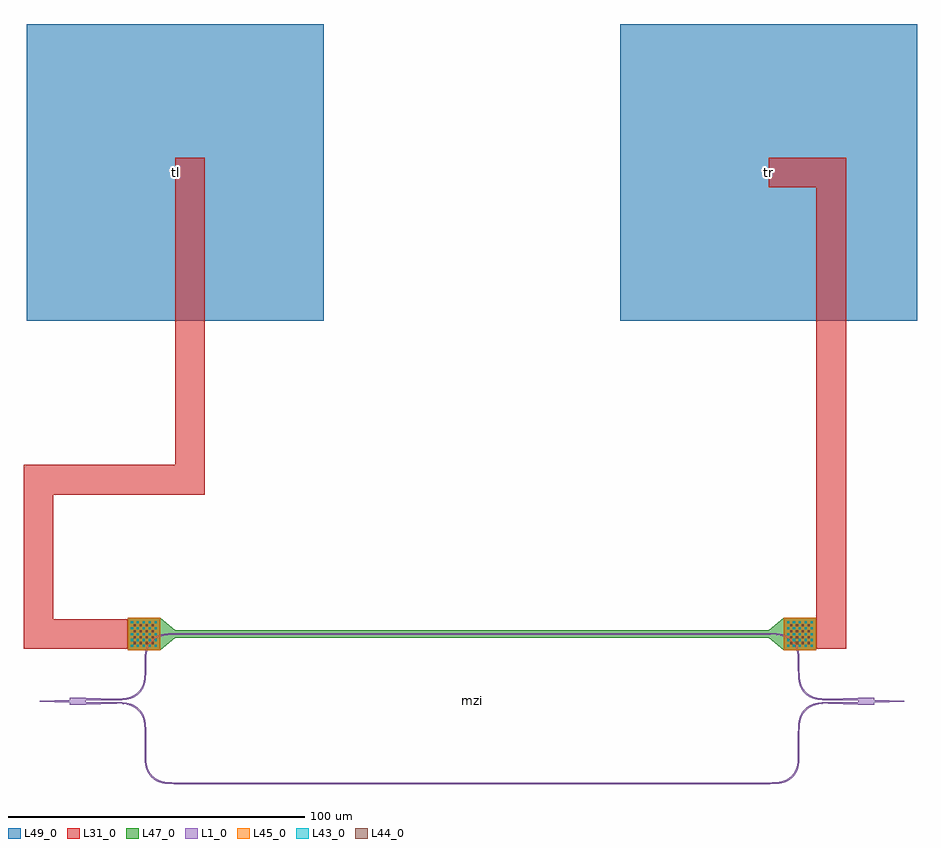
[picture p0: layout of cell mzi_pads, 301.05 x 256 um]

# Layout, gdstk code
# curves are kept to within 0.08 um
from math import pi, radians
import gdstk
lib = gdstk.Library(unit=1e-6, precision=1e-09)
def R(c, l, rs):  # rectangles x0, y0, x1, y1
    for r in rs: c.add(gdstk.rectangle(r[:2], r[2:], *l))
def P(c, l, *ps):  # polygons
    for p in ps: c.add(gdstk.Polygon(p, *l))
L1_0 = (1, 0)
L31_0 = (31, 0)
L43_0 = (43, 0)
L44_0 = (44, 0)
L45_0 = (45, 0)
L47_0 = (47, 0)
L49_0 = (49, 0)

compass_f8d1f57e = lib.new_cell('compass_f8d1f57e')
R(compass_f8d1f57e, L49_0, [(-50,-50,50,50)])

pad = lib.new_cell('pad')
pad.add(gdstk.Reference(compass_f8d1f57e, (0,0)))

mmi1x2 = lib.new_cell('mmi1x2')
R(mmi1x2, L1_0, [(0,-1.25,5.5,1.25)])
P(mmi1x2, L1_0, [(-10,0.25),(0,0.5),(0,-0.5),(-10,-0.25)],
  [(15.5,0.375),(5.5,0.125),(5.5,1.125),(15.5,0.875)],
  [(15.5,-0.875),(5.5,-1.125),(5.5,-0.125),(15.5,-0.375)])

bend_euler_9e0718a0 = lib.new_cell('bend_euler_9e0718a0')
P(bend_euler_9e0718a0, L1_0, [(0,-0.25),(2.724,-0.165),(3.761,-0.026),(4.739,0.201),(5.691,0.544),(6.428,0.918),(7.158,1.402),(7.859,2.003),(8.479,2.689),(9.033,3.488),(9.456,4.309),(9.799,5.261),(10.026,6.239),(10.165,7.276),(10.25,10),(9.75,10),(9.634,7.004),(9.463,5.971),(9.18,4.971),(8.508,3.59),(7.575,2.425),(6.41,1.492),(5.029,0.82),(4.029,0.537),(2.996,0.366),(0,0.25)])

straight_a4be237b = lib.new_cell('straight_a4be237b')
R(straight_a4be237b, L1_0, [(0,-0.25,7,0.25)])

straight_bac520ba = lib.new_cell('straight_bac520ba')
R(straight_bac520ba, L1_0, [(0,-0.25,200,0.25)])

straight_fba69bc3 = lib.new_cell('straight_fba69bc3')
R(straight_fba69bc3, L1_0, [(0,-0.25,2,0.25)])

straight_3a72786a = lib.new_cell('straight_3a72786a')
R(straight_3a72786a, L1_0, [(0,-0.25,28,0.25)])
R(straight_3a72786a, L47_0, [(0,-1.25,28,1.25)])

straight_9496f45c = lib.new_cell('straight_9496f45c')
R(straight_9496f45c, L1_0, [(0,-0.25,30,0.25)])
R(straight_9496f45c, L47_0, [(0,-1.25,30,1.25)])

straight_3fe7bc16 = lib.new_cell('straight_3fe7bc16')
R(straight_3fe7bc16, L1_0, [(0,-0.25,6,0.25)])
R(straight_3fe7bc16, L47_0, [(0,-1.25,6,1.25)])

component_sequence_76e47 = lib.new_cell('component_sequence_76e4753e')
component_sequence_76e47.add(gdstk.Reference(straight_3a72786a, (0,0)))
component_sequence_76e47.add(gdstk.Reference(straight_9496f45c, (28,0)))
component_sequence_76e47.add(gdstk.Reference(straight_3fe7bc16, (58,0)))
component_sequence_76e47.add(gdstk.Reference(straight_9496f45c, (64,0)))
component_sequence_76e47.add(gdstk.Reference(straight_3fe7bc16, (94,0)))
component_sequence_76e47.add(gdstk.Reference(straight_9496f45c, (100,0)))
component_sequence_76e47.add(gdstk.Reference(straight_3fe7bc16, (130,0)))
component_sequence_76e47.add(gdstk.Reference(straight_9496f45c, (136,0)))
component_sequence_76e47.add(gdstk.Reference(straight_3fe7bc16, (166,0)))
component_sequence_76e47.add(gdstk.Reference(straight_3a72786a, (172,0)))

compass_8277d85c = lib.new_cell('compass_8277d85c')
R(compass_8277d85c, L47_0, [(-5.5,-5.5,5.5,5.5)])

compass_6419de30 = lib.new_cell('compass_6419de30')
R(compass_6419de30, L45_0, [(-5.5,-5.5,5.5,5.5)])

compass_0253aeff = lib.new_cell('compass_0253aeff')
R(compass_0253aeff, L49_0, [(-5.5,-5.5,5.5,5.5)])

via_ebd8e362 = lib.new_cell('via_ebd8e362')
R(via_ebd8e362, L44_0, [(-0.35,-0.35,0.35,0.35)])

via_fd13653e = lib.new_cell('via_fd13653e')
R(via_fd13653e, L43_0, [(-0.35,-0.35,0.35,0.35)])

via_stack_02e7e014 = lib.new_cell('via_stack_02e7e014')
via_stack_02e7e014.add(gdstk.Reference(compass_8277d85c, (0,0)))
via_stack_02e7e014.add(gdstk.Reference(compass_6419de30, (0,0)))
via_stack_02e7e014.add(gdstk.Reference(compass_0253aeff, (0,0)))
r = gdstk.Reference(via_ebd8e362, (-3,-3)); r.repetition = gdstk.Repetition(4, 4, v1=(2,0), v2=(0,2)); via_stack_02e7e014.add(r)
r = gdstk.Reference(via_fd13653e, (-4,-4)); r.repetition = gdstk.Repetition(5, 5, v1=(2,0), v2=(0,2)); via_stack_02e7e014.add(r)

taper_13d39a01 = lib.new_cell('taper_13d39a01')
P(taper_13d39a01, L47_0, [(0,5.5),(5,1.25),(5,-1.25),(0,-5.5)])

straight_heater_metal_u_ = lib.new_cell('straight_heater_metal_u_7be1cc9e')
straight_heater_metal_u_.add(gdstk.Reference(component_sequence_76e47, (0,0)))
straight_heater_metal_u_.add(gdstk.Reference(via_stack_02e7e014, (-10.5,0)))
straight_heater_metal_u_.add(gdstk.Reference(via_stack_02e7e014, (210.5,0)))
straight_heater_metal_u_.add(gdstk.Reference(taper_13d39a01, (-5,0)))
straight_heater_metal_u_.add(gdstk.Reference(taper_13d39a01, (205,0), rotation=pi))

straight_fa3a3f2f = lib.new_cell('straight_fa3a3f2f')
R(straight_fa3a3f2f, L1_0, [(0,-0.25,0.09,0.25)])

straight_c804d8bd = lib.new_cell('straight_c804d8bd')
R(straight_c804d8bd, L1_0, [(0,-0.25,2,0.25)])

straight_4ae164bc = lib.new_cell('straight_4ae164bc')
R(straight_4ae164bc, L1_0, [(0,-0.25,0.01,0.25)])

straight_32d14105 = lib.new_cell('straight_32d14105')
R(straight_32d14105, L1_0, [(0,-0.25,7,0.25)])

mzi_99ca1007 = lib.new_cell('mzi_99ca1007')
mzi_99ca1007.add(gdstk.Reference(mmi1x2, (0,0)))
mzi_99ca1007.add(gdstk.Reference(mmi1x2, (271.1,0), rotation=pi, x_reflection=True))
mzi_99ca1007.add(gdstk.Reference(bend_euler_9e0718a0, (15.5,-0.625), x_reflection=True))
mzi_99ca1007.add(gdstk.Reference(straight_a4be237b, (25.5,-10.625), rotation=3*pi/2))
mzi_99ca1007.add(gdstk.Reference(bend_euler_9e0718a0, (25.5,-17.625), rotation=3*pi/2))
mzi_99ca1007.add(gdstk.Reference(straight_bac520ba, (35.5,-27.625)))
mzi_99ca1007.add(gdstk.Reference(bend_euler_9e0718a0, (15.5,0.625)))
mzi_99ca1007.add(gdstk.Reference(straight_fba69bc3, (25.5,10.625), rotation=pi/2))
mzi_99ca1007.add(gdstk.Reference(bend_euler_9e0718a0, (35.5,22.625), rotation=pi))
mzi_99ca1007.add(gdstk.Reference(straight_heater_metal_u_, (35.5,22.625)))
mzi_99ca1007.add(gdstk.Reference(bend_euler_9e0718a0, (235.59,22.625), x_reflection=True))
mzi_99ca1007.add(gdstk.Reference(bend_euler_9e0718a0, (245.59,10.625), rotation=3*pi/2))
mzi_99ca1007.add(gdstk.Reference(straight_fa3a3f2f, (235.5,22.625)))
mzi_99ca1007.add(gdstk.Reference(straight_c804d8bd, (245.59,12.625), rotation=3*pi/2))
mzi_99ca1007.add(gdstk.Reference(straight_4ae164bc, (255.59,0.625)))
mzi_99ca1007.add(gdstk.Reference(bend_euler_9e0718a0, (235.59,-27.625)))
mzi_99ca1007.add(gdstk.Reference(bend_euler_9e0718a0, (245.59,-10.625), rotation=pi/2, x_reflection=True))
mzi_99ca1007.add(gdstk.Reference(straight_fa3a3f2f, (235.5,-27.625)))
mzi_99ca1007.add(gdstk.Reference(straight_32d14105, (245.59,-17.625), rotation=pi/2))
mzi_99ca1007.add(gdstk.Reference(straight_4ae164bc, (255.59,-0.625)))

wire_corner_0e25748d = lib.new_cell('wire_corner_0e25748d')
R(wire_corner_0e25748d, L31_0, [(-5,-5,5,5)])

straight_f2b7a485 = lib.new_cell('straight_f2b7a485')
R(straight_f2b7a485, L31_0, [(0,-5,0.01,5)])

straight_1296f0f2 = lib.new_cell('straight_1296f0f2')
R(straight_1296f0f2, L31_0, [(0,-5,145.5,5)])

straight_13ae2d62 = lib.new_cell('straight_13ae2d62')
R(straight_13ae2d62, L31_0, [(0,-5,15.96,5)])

straight_c5738aee = lib.new_cell('straight_c5738aee')
R(straight_c5738aee, L31_0, [(0,-5,25,5)])

straight_f191308a = lib.new_cell('straight_f191308a')
R(straight_f191308a, L31_0, [(0,-5,42,5)])

straight_bd0ae9eb = lib.new_cell('straight_bd0ae9eb')
R(straight_bd0ae9eb, L31_0, [(0,-5,41.06,5)])

straight_74106461 = lib.new_cell('straight_74106461')
R(straight_74106461, L31_0, [(0,-5,93.5,5)])

mzi_pads = lib.new_cell('mzi_pads')
mzi_pads.add(gdstk.Reference(pad, (35.55,0)))
mzi_pads.add(gdstk.Reference(pad, (235.55,0)))
mzi_pads.add(gdstk.Reference(mzi_99ca1007, (0,-178.125)))
mzi_pads.add(gdstk.Reference(wire_corner_0e25748d, (256.51,-155.5)))
mzi_pads.add(gdstk.Reference(wire_corner_0e25748d, (256.51,0), rotation=pi/2))
mzi_pads.add(gdstk.Reference(straight_f2b7a485, (251.5,-155.5)))
mzi_pads.add(gdstk.Reference(straight_1296f0f2, (256.51,-150.5), rotation=pi/2))
mzi_pads.add(gdstk.Reference(straight_13ae2d62, (251.51,0), rotation=pi))
mzi_pads.add(gdstk.Reference(wire_corner_0e25748d, (-10.5,-155.5), rotation=pi, x_reflection=True))
mzi_pads.add(gdstk.Reference(wire_corner_0e25748d, (-10.5,-103.5), rotation=pi/2, x_reflection=True))
mzi_pads.add(gdstk.Reference(wire_corner_0e25748d, (40.56,-103.5)))
mzi_pads.add(gdstk.Reference(wire_corner_0e25748d, (40.56,0), rotation=pi/2))
mzi_pads.add(gdstk.Reference(straight_c5738aee, (19.5,-155.5), rotation=pi))
mzi_pads.add(gdstk.Reference(straight_f191308a, (-10.5,-150.5), rotation=pi/2))
mzi_pads.add(gdstk.Reference(straight_bd0ae9eb, (-5.5,-103.5)))
mzi_pads.add(gdstk.Reference(straight_74106461, (40.56,-98.5), rotation=pi/2))
mzi_pads.add(gdstk.Reference(straight_f2b7a485, (35.56,0), rotation=pi))
mzi_pads.add(gdstk.Label('tl', (35.55,0), layer=206, texttype=0))
mzi_pads.add(gdstk.Label('tr', (235.55,0), layer=206, texttype=0))
mzi_pads.add(gdstk.Label('mzi', (135.55,-178), layer=206, texttype=0))

lib.write_gds('mzi_pads.gds')
